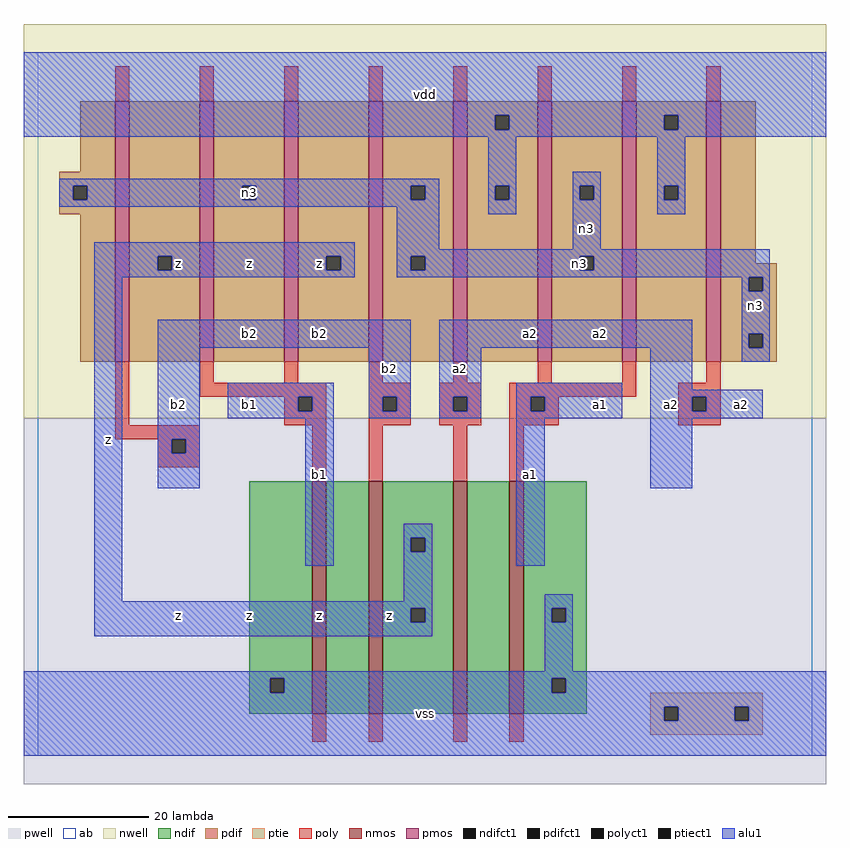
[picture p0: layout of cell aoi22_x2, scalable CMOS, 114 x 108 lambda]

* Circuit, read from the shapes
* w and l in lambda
.subckt aoi22_x2 a1 a2 b1 b2 n3 vdd vss z
M1 n1 b1 vss vss nfet w=33 l=2
M2 z b2 n1 vss nfet w=33 l=2
M3 n2 a2 z vss nfet w=33 l=2
M4 vss a1 n2 vss nfet w=33 l=2
M5 z b2 n3 n4 pfet w=37 l=2 m=2
M6 n3 b1 z n4 pfet w=37 l=2 m=2
M7 vdd a2 n3 n4 pfet w=37 l=2 m=2
M8 n3 a1 vdd n4 pfet w=37 l=2 m=2
.ends

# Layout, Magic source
magic
tech scmos
<< ab >>
rect 0 0 110 100
<< nwell >>
rect -2 48 112 104
<< pwell >>
rect -2 -4 112 48
<< poly >>
rect 11 93 13 98
rect 23 93 25 98
rect 35 93 37 98
rect 47 93 49 98
rect 59 93 61 98
rect 71 93 73 98
rect 83 93 85 98
rect 95 93 97 98
rect 11 47 13 56
rect 23 53 25 56
rect 35 53 37 56
rect 47 53 49 56
rect 59 53 61 56
rect 71 53 73 56
rect 83 53 85 56
rect 95 53 97 56
rect 23 51 41 53
rect 35 49 37 51
rect 39 49 41 51
rect 35 47 41 49
rect 11 45 23 47
rect 17 43 19 45
rect 21 43 23 45
rect 17 41 23 43
rect 39 39 41 47
rect 47 51 53 53
rect 47 49 49 51
rect 51 49 53 51
rect 47 47 53 49
rect 57 51 63 53
rect 57 49 59 51
rect 61 49 63 51
rect 57 47 63 49
rect 67 51 85 53
rect 91 51 97 53
rect 67 49 70 51
rect 72 49 74 51
rect 67 47 74 49
rect 91 49 93 51
rect 95 49 97 51
rect 91 47 97 49
rect 47 39 49 47
rect 59 39 61 47
rect 67 39 69 47
rect 39 2 41 6
rect 47 2 49 6
rect 59 2 61 6
rect 67 2 69 6
<< ndif >>
rect 30 11 39 39
rect 30 9 33 11
rect 35 9 39 11
rect 30 6 39 9
rect 41 6 47 39
rect 49 31 59 39
rect 49 29 53 31
rect 55 29 59 31
rect 49 21 59 29
rect 49 19 53 21
rect 55 19 59 21
rect 49 6 59 19
rect 61 6 67 39
rect 69 21 78 39
rect 69 19 73 21
rect 75 19 78 21
rect 69 11 78 19
rect 69 9 73 11
rect 75 9 78 11
rect 69 6 78 9
<< pdif >>
rect 6 83 11 93
rect 3 81 11 83
rect 3 79 5 81
rect 7 79 11 81
rect 3 77 11 79
rect 6 56 11 77
rect 13 71 23 93
rect 13 69 17 71
rect 19 69 23 71
rect 13 56 23 69
rect 25 81 35 93
rect 25 79 29 81
rect 31 79 35 81
rect 25 56 35 79
rect 37 71 47 93
rect 37 69 41 71
rect 43 69 47 71
rect 37 56 47 69
rect 49 81 59 93
rect 49 79 53 81
rect 55 79 59 81
rect 49 71 59 79
rect 49 69 53 71
rect 55 69 59 71
rect 49 56 59 69
rect 61 91 71 93
rect 61 89 65 91
rect 67 89 71 91
rect 61 81 71 89
rect 61 79 65 81
rect 67 79 71 81
rect 61 56 71 79
rect 73 81 83 93
rect 73 79 77 81
rect 79 79 83 81
rect 73 71 83 79
rect 73 69 77 71
rect 79 69 83 71
rect 73 56 83 69
rect 85 91 95 93
rect 85 89 89 91
rect 91 89 95 91
rect 85 81 95 89
rect 85 79 89 81
rect 91 79 95 81
rect 85 56 95 79
rect 97 70 102 93
rect 97 68 105 70
rect 97 66 101 68
rect 103 66 105 68
rect 97 60 105 66
rect 97 58 101 60
rect 103 58 105 60
rect 97 56 105 58
<< alu1 >>
rect -2 91 112 100
rect -2 89 65 91
rect 67 89 89 91
rect 91 89 112 91
rect -2 88 112 89
rect 3 81 57 82
rect 3 79 5 81
rect 7 79 29 81
rect 31 79 53 81
rect 55 79 57 81
rect 3 78 57 79
rect 8 71 45 73
rect 8 69 17 71
rect 19 69 41 71
rect 43 69 45 71
rect 8 68 45 69
rect 51 72 57 78
rect 64 81 68 88
rect 64 79 65 81
rect 67 79 68 81
rect 64 77 68 79
rect 76 81 80 83
rect 76 79 77 81
rect 79 79 80 81
rect 76 72 80 79
rect 88 81 92 88
rect 88 79 89 81
rect 91 79 92 81
rect 88 77 92 79
rect 51 71 104 72
rect 51 69 53 71
rect 55 69 77 71
rect 79 69 104 71
rect 51 68 104 69
rect 8 22 12 68
rect 100 66 101 68
rect 103 66 104 68
rect 17 58 53 62
rect 17 45 23 58
rect 27 51 42 53
rect 27 49 37 51
rect 39 49 42 51
rect 27 48 42 49
rect 47 51 53 58
rect 47 49 49 51
rect 51 49 53 51
rect 47 48 53 49
rect 57 58 93 62
rect 57 51 63 58
rect 57 49 59 51
rect 61 49 63 51
rect 57 48 63 49
rect 68 51 83 53
rect 68 49 70 51
rect 72 49 83 51
rect 68 48 83 49
rect 87 52 93 58
rect 100 60 104 66
rect 100 58 101 60
rect 103 58 104 60
rect 100 56 104 58
rect 87 51 103 52
rect 87 49 93 51
rect 95 49 103 51
rect 87 48 103 49
rect 17 43 19 45
rect 21 43 23 45
rect 17 38 23 43
rect 38 27 42 48
rect 52 31 56 33
rect 52 29 53 31
rect 55 29 56 31
rect 52 22 56 29
rect 68 27 72 48
rect 87 38 93 48
rect 8 21 56 22
rect 8 19 53 21
rect 55 19 56 21
rect 8 17 56 19
rect 72 21 76 23
rect 72 19 73 21
rect 75 19 76 21
rect 72 12 76 19
rect -2 11 112 12
rect -2 9 33 11
rect 35 9 73 11
rect 75 9 112 11
rect -2 7 112 9
rect -2 5 89 7
rect 91 5 99 7
rect 101 5 112 7
rect -2 0 112 5
<< ptie >>
rect 87 7 103 9
rect 87 5 89 7
rect 91 5 99 7
rect 101 5 103 7
rect 87 3 103 5
<< nmos >>
rect 39 6 41 39
rect 47 6 49 39
rect 59 6 61 39
rect 67 6 69 39
<< pmos >>
rect 11 56 13 93
rect 23 56 25 93
rect 35 56 37 93
rect 47 56 49 93
rect 59 56 61 93
rect 71 56 73 93
rect 83 56 85 93
rect 95 56 97 93
<< polyct1 >>
rect 37 49 39 51
rect 19 43 21 45
rect 49 49 51 51
rect 59 49 61 51
rect 70 49 72 51
rect 93 49 95 51
<< ndifct1 >>
rect 33 9 35 11
rect 53 29 55 31
rect 53 19 55 21
rect 73 19 75 21
rect 73 9 75 11
<< ptiect1 >>
rect 89 5 91 7
rect 99 5 101 7
<< pdifct1 >>
rect 5 79 7 81
rect 17 69 19 71
rect 29 79 31 81
rect 41 69 43 71
rect 53 79 55 81
rect 53 69 55 71
rect 65 89 67 91
rect 65 79 67 81
rect 77 79 79 81
rect 77 69 79 71
rect 89 89 91 91
rect 89 79 91 81
rect 101 66 103 68
rect 101 58 103 60
<< labels >>
rlabel alu1 10 45 10 45 6 z
rlabel alu1 40 20 40 20 6 z
rlabel alu1 30 20 30 20 6 z
rlabel alu1 20 20 20 20 6 z
rlabel alu1 40 40 40 40 6 b1
rlabel alu1 20 50 20 50 6 b2
rlabel alu1 30 50 30 50 6 b1
rlabel alu1 40 60 40 60 6 b2
rlabel alu1 30 60 30 60 6 b2
rlabel alu1 20 70 20 70 6 z
rlabel alu1 40 70 40 70 6 z
rlabel alu1 30 70 30 70 6 z
rlabel alu1 55 6 55 6 6 vss
rlabel alu1 50 20 50 20 6 z
rlabel alu1 50 55 50 55 6 b2
rlabel alu1 60 55 60 55 6 a2
rlabel pdifct1 30 80 30 80 6 n3
rlabel alu1 55 94 55 94 6 vdd
rlabel alu1 70 40 70 40 6 a1
rlabel alu1 80 50 80 50 6 a1
rlabel alu1 80 60 80 60 6 a2
rlabel alu1 70 60 70 60 6 a2
rlabel alu1 78 75 78 75 6 n3
rlabel alu1 90 50 90 50 6 a2
rlabel alu1 100 50 100 50 6 a2
rlabel alu1 102 64 102 64 6 n3
rlabel alu1 77 70 77 70 6 n3
<< end >>
